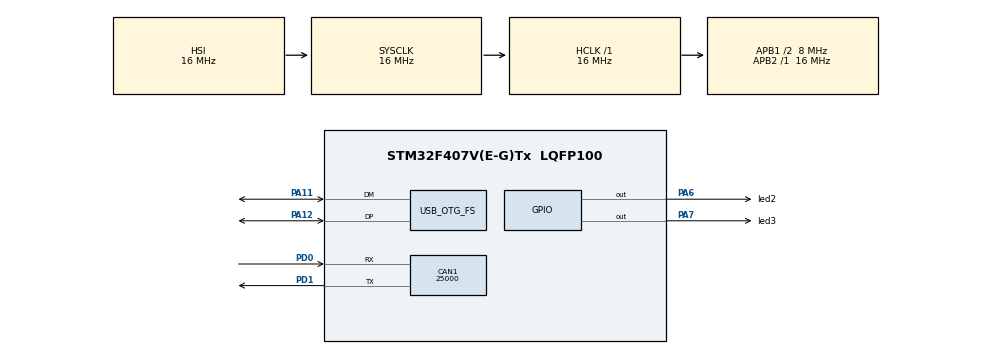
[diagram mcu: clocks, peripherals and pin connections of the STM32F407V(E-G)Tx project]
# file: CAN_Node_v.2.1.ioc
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CAN1.BS1=CAN_BS1_13TQ
CAN1.BS2=CAN_BS2_6TQ
CAN1.CalculateBaudRate=25000
CAN1.CalculateTimeBit=40000
CAN1.CalculateTimeQuantum=2000.0
CAN1.Mode=CAN_MODE_LOOPBACK
Mcu.Family=STM32F4
Mcu.Name=STM32F407V(E-G)Tx
Mcu.Package=LQFP100
NVIC.CAN1_RX0_IRQn=true\:0\:0\:false\:false\:true\:true\:true\:true
NVIC.OTG_FS_IRQn=true\:0\:0\:false\:false\:true\:true\:true\:true
NVIC.PriorityGroup=NVIC_PRIORITYGROUP_4
PA11.Mode=Device_Only
PA11.Signal=USB_OTG_FS_DM
PA12.Mode=Device_Only
PA12.Signal=USB_OTG_FS_DP
PA6.GPIO_Label=led2
PA6.Signal=GPIO_Output
PA7.GPIO_Label=led3
PA7.Signal=GPIO_Output
PD0.Mode=CAN_Activate
PD0.Signal=CAN1_RX
PD1.Mode=CAN_Activate
PD1.Signal=CAN1_TX
PH0-OSC_IN.Mode=HSE-External-Oscillator
PH0-OSC_IN.Signal=RCC_OSC_IN
PH1-OSC_OUT.Mode=HSE-External-Oscillator
PH1-OSC_OUT.Signal=RCC_OSC_OUT
ProjectManager.HeapSize=0x200
ProjectManager.StackSize=0x400
ProjectManager.TargetToolchain=STM32CubeIDE
RCC.48MHZClocksFreq_Value=48000000
RCC.AHBFreq_Value=16000000
RCC.APB1CLKDivider=RCC_HCLK_DIV2
RCC.APB1Freq_Value=8000000
RCC.APB1TimFreq_Value=16000000
RCC.APB2Freq_Value=16000000
RCC.APB2TimFreq_Value=16000000
RCC.CortexFreq_Value=16000000
RCC.HCLKFreq_Value=16000000
RCC.HSE_VALUE=8000000
RCC.HSI_VALUE=16000000
RCC.LSE_VALUE=32768
RCC.PLLM=4
RCC.PLLN=72
RCC.PLLQ=3
RCC.SYSCLKFreq_VALUE=16000000
RCC.VCOOutputFreq_Value=144000000
USB_DEVICE.CLASS_NAME_FS=CDC
USB_DEVICE.VirtualMode-CDC_FS=Cdc
USB_DEVICE.VirtualModeFS=Cdc_FS
USB_OTG_FS.VirtualMode=Device_Only
VP_USB_DEVICE_VS_USB_DEVICE_CDC_FS.Mode=CDC_FS
board=custom

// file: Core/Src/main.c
/* USER CODE BEGIN Header */
/**
  ******************************************************************************
  * @file           : main.c
  * @brief          : Main program body
  ******************************************************************************
  * @attention
  *
  * Copyright (c) 2025 STMicroelectronics.
  * All rights reserved.
  *
  * This software is licensed under terms that can be found in the LICENSE file
  * in the root directory of this software component.
  * If no LICENSE file comes with this software, it is provided AS-IS.
  *
  ******************************************************************************
  */
/* USER CODE END Header */
#include "main.h"
#include "usb_device.h"

/* USER CODE BEGIN Includes */
#include "usbd_cdc_if.h"

/* USER CODE END Includes */

CAN_HandleTypeDef hcan1;

/* USER CODE BEGIN PV */
CAN_TxHeaderTypeDef TxHeader;
CAN_RxHeaderTypeDef RxHeader;

uint32_t TxMailbox;
uint8_t testData[2] = {2,3};
uint8_t testRx[2] = {0};
uint8_t flag = 0;

uint8_t myBuf[32] = "Hello World \n";

/* USER CODE END PV */

void SystemClock_Config(void);
static void MX_GPIO_Init(void);
static void MX_CAN1_Init(void);

int main(void)
{

  /* MCU Configuration--------------------------------------------------------*/

  /* Reset of all peripherals, Initializes the Flash interface and the Systick. */
  HAL_Init();

  /* Configure the system clock */
  SystemClock_Config();

  /* Initialize all configured peripherals */
  MX_GPIO_Init();
  MX_USB_DEVICE_Init();
  MX_CAN1_Init();
  /* USER CODE BEGIN 2 */

  TxHeader.DLC=2;
  TxHeader.IDE = CAN_ID_STD;
  TxHeader.RTR = CAN_RTR_DATA;
  TxHeader.StdId = 64;

  HAL_CAN_Start(&hcan1);
  HAL_CAN_ActivateNotification(&hcan1, CAN_IT_RX_FIFO0_MSG_PENDING);
  /* USER CODE END 2 */

  /* Infinite loop */
  while (1)
  {

    /* USER CODE BEGIN 3 */
	  if (HAL_CAN_GetTxMailboxesFreeLevel(&hcan1) > 0)  // Check if mailbox is free
	  {
		  HAL_CAN_AddTxMessage(&hcan1, &TxHeader, testData, &TxMailbox);
	  }
	  // If a message is received (set by callback), turn LED ON
	  //HAL_GPIO_WritePin(GPIOA, led2_Pin, 1);
	  HAL_GPIO_WritePin(GPIOA, led3_Pin, 0);
	  if (flag == 1)
	  {
		  HAL_GPIO_WritePin(GPIOA, led2_Pin, 0); // LED ON
		  CDC_Transmit_FS(myBuf, 32);
		  flag = 0;
	  }
	  else
	  {
		  HAL_GPIO_WritePin(GPIOA, led2_Pin, 1); // Blink LED until message received
	  }
	  HAL_Delay(500);

  }

  /* USER CODE END 3 */
}

void SystemClock_Config(void)
{
  RCC_OscInitTypeDef RCC_OscInitStruct = {0};
  RCC_ClkInitTypeDef RCC_ClkInitStruct = {0};

  /** Configure the main internal regulator output voltage
  */
  __HAL_RCC_PWR_CLK_ENABLE();
  __HAL_PWR_VOLTAGESCALING_CONFIG(PWR_REGULATOR_VOLTAGE_SCALE1);

  /** Initializes the RCC Oscillators according to the specified parameters
  * in the RCC_OscInitTypeDef structure.
  */
  RCC_OscInitStruct.OscillatorType = RCC_OSCILLATORTYPE_HSI|RCC_OSCILLATORTYPE_HSE;
  RCC_OscInitStruct.HSEState = RCC_HSE_ON;
  RCC_OscInitStruct.HSIState = RCC_HSI_ON;
  RCC_OscInitStruct.HSICalibrationValue = RCC_HSICALIBRATION_DEFAULT;
  RCC_OscInitStruct.PLL.PLLState = RCC_PLL_ON;
  RCC_OscInitStruct.PLL.PLLSource = RCC_PLLSOURCE_HSE;
  RCC_OscInitStruct.PLL.PLLM = 4;
  RCC_OscInitStruct.PLL.PLLN = 72;
  RCC_OscInitStruct.PLL.PLLP = RCC_PLLP_DIV2;
  RCC_OscInitStruct.PLL.PLLQ = 3;
  if (HAL_RCC_OscConfig(&RCC_OscInitStruct) != HAL_OK)
  {
    Error_Handler();
  }

  /** Initializes the CPU, AHB and APB buses clocks
  */
  RCC_ClkInitStruct.ClockType = RCC_CLOCKTYPE_HCLK|RCC_CLOCKTYPE_SYSCLK
                              |RCC_CLOCKTYPE_PCLK1|RCC_CLOCKTYPE_PCLK2;
  RCC_ClkInitStruct.SYSCLKSource = RCC_SYSCLKSOURCE_HSI;
  RCC_ClkInitStruct.AHBCLKDivider = RCC_SYSCLK_DIV1;
  RCC_ClkInitStruct.APB1CLKDivider = RCC_HCLK_DIV2;
  RCC_ClkInitStruct.APB2CLKDivider = RCC_HCLK_DIV1;

  if (HAL_RCC_ClockConfig(&RCC_ClkInitStruct, FLASH_LATENCY_0) != HAL_OK)
  {
    Error_Handler();
  }
}

static void MX_CAN1_Init(void)
{

  hcan1.Instance = CAN1;
  hcan1.Init.Prescaler = 16;
  hcan1.Init.Mode = CAN_MODE_LOOPBACK;
  hcan1.Init.SyncJumpWidth = CAN_SJW_1TQ;
  hcan1.Init.TimeSeg1 = CAN_BS1_13TQ;
  hcan1.Init.TimeSeg2 = CAN_BS2_6TQ;
  hcan1.Init.TimeTriggeredMode = DISABLE;
  hcan1.Init.AutoBusOff = DISABLE;
  hcan1.Init.AutoWakeUp = DISABLE;
  hcan1.Init.AutoRetransmission = DISABLE;
  hcan1.Init.ReceiveFifoLocked = DISABLE;
  hcan1.Init.TransmitFifoPriority = DISABLE;
  if (HAL_CAN_Init(&hcan1) != HAL_OK)
  {
    Error_Handler();
  }
  /* USER CODE BEGIN CAN1_Init 2 */
  CAN_FilterTypeDef canFilterConfig;

  canFilterConfig.FilterActivation = ENABLE;
  canFilterConfig.FilterBank = 0;
  canFilterConfig.FilterFIFOAssignment = CAN_FILTER_FIFO0;
  canFilterConfig.FilterIdHigh = 0x0000;
  canFilterConfig.FilterIdLow = 0x0000;
  canFilterConfig.FilterMaskIdHigh = 0x0000;
  canFilterConfig.FilterMaskIdLow = 0x0000;
  canFilterConfig.FilterMode = CAN_FILTERMODE_IDMASK;
  canFilterConfig.FilterScale = CAN_FILTERSCALE_32BIT;
  canFilterConfig.SlaveStartFilterBank = 14; // F4 için önemli

  if (HAL_CAN_ConfigFilter(&hcan1, &canFilterConfig) != HAL_OK)
  {
      Error_Handler();
  }

  /* USER CODE END CAN1_Init 2 */

}

static void MX_GPIO_Init(void)
{
  GPIO_InitTypeDef GPIO_InitStruct = {0};

  /* GPIO Ports Clock Enable */
  __HAL_RCC_GPIOH_CLK_ENABLE();
  __HAL_RCC_GPIOA_CLK_ENABLE();
  __HAL_RCC_GPIOD_CLK_ENABLE();

  /*Configure GPIO pin Output Level */
  HAL_GPIO_WritePin(GPIOA, led2_Pin|led3_Pin, GPIO_PIN_RESET);

  /*Configure GPIO pins : led2_Pin led3_Pin */
  GPIO_InitStruct.Pin = led2_Pin|led3_Pin;
  GPIO_InitStruct.Mode = GPIO_MODE_OUTPUT_PP;
  GPIO_InitStruct.Pull = GPIO_NOPULL;
  GPIO_InitStruct.Speed = GPIO_SPEED_FREQ_LOW;
  HAL_GPIO_Init(GPIOA, &GPIO_InitStruct);

}

/* USER CODE BEGIN 4 */
void HAL_CAN_RxFifo0MsgPendingCallback(CAN_HandleTypeDef *hcan)

{
    HAL_CAN_GetRxMessage(&hcan1, CAN_RX_FIFO0, &RxHeader, testRx);
    CDC_Transmit_FS(testRx, 2);
    //if (testRx[0] == 2 && testRx[1] == 3)
    //{
        flag = 1;
    //}

}

/* USER CODE END 4 */

void Error_Handler(void)
{
  __disable_irq();
  while (1)
  {
  }
}
